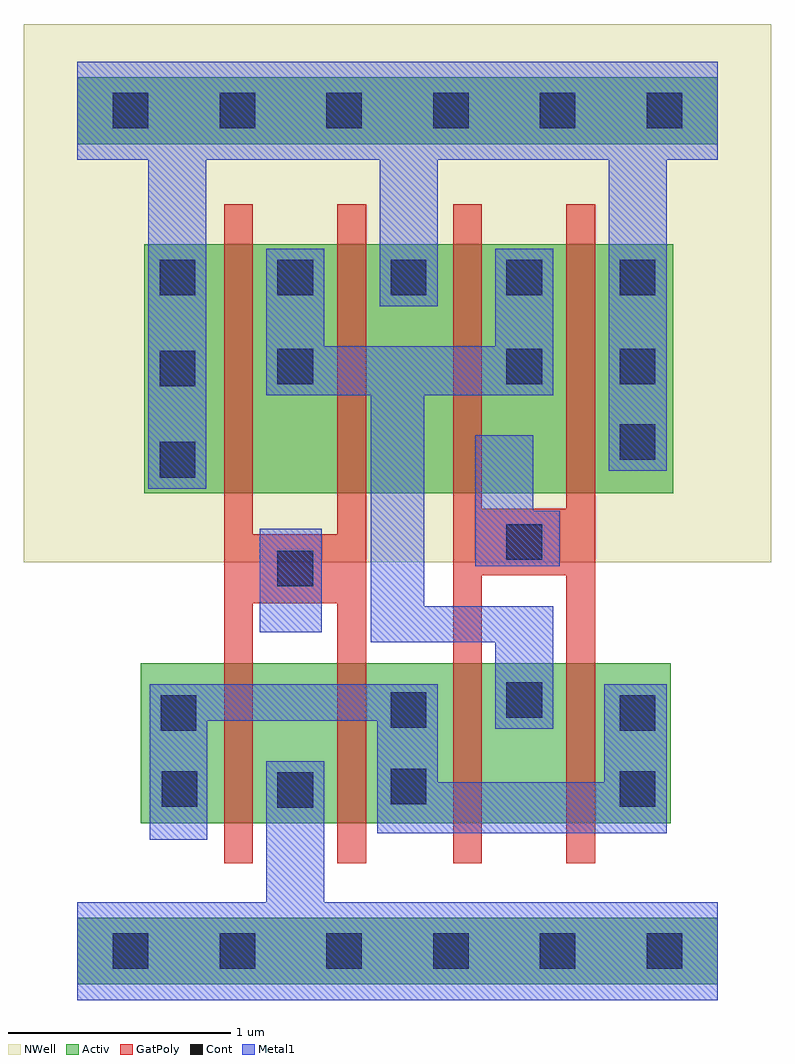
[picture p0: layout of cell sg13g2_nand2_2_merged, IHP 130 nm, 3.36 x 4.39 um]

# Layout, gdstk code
import gdstk
lib = gdstk.Library(unit=1e-6, precision=1e-09)
def R(c, l, rs):  # rectangles x0, y0, x1, y1
    for r in rs: c.add(gdstk.rectangle(r[:2], r[2:], *l))
def A(c, l, x, y, w, h, nx, ny, dx, dy):  # array of equal rectangles
    R(c, l, [(x+i*dx, y+j*dy, x+i*dx+w, y+j*dy+h) for i in range(nx) for j in range(ny)])
def P(c, l, *ps):  # polygons
    for p in ps: c.add(gdstk.Polygon(p, *l))
Activ = (1, 0)
GatPoly = (5, 0)
Cont = (6, 0)
Metal1 = (8, 0)
NWell = (31, 0)

sg13g2_nand2_2_merged = lib.new_cell('sg13g2_nand2_2_merged')
R(sg13g2_nand2_2_merged, Activ, [(0,-0.15,2.88,0.15), (0.285,0.575,2.67,1.295), (0.3,2.06,2.68,3.18), (0,3.63,2.88,3.93)])
P(sg13g2_nand2_2_merged, GatPoly, [(0.66,0.395),(0.66,3.36),(0.79,3.36),(0.79,1.875),(1.17,1.875),(1.17,3.36),(1.3,3.36),(1.3,0.395),(1.17,0.395),(1.17,1.565),(0.79,1.565),(0.79,0.395)],
  [(1.69,0.395),(1.69,3.36),(1.82,3.36),(1.82,1.99),(2.2,1.99),(2.2,3.36),(2.33,3.36),(2.33,0.395),(2.2,0.395),(2.2,1.69),(1.82,1.69),(1.82,0.395)])
A(sg13g2_nand2_2_merged, Cont, 0.16, -0.08, 0.16, 0.16, 6, 2, 0.48, 3.78)
A(sg13g2_nand2_2_merged, Cont, 0.37, 2.13, 0.16, 0.16, 1, 3, 0, 0.41)
R(sg13g2_nand2_2_merged, Cont, [(0.9,0.645,1.06,0.805), (0.38,0.65,0.54,0.81), (2.44,0.65,2.6,0.81), (1.41,0.66,1.57,0.82), (0.375,0.99,0.535,1.15), (2.44,0.99,2.6,1.15), (1.41,1.005,1.57,1.165), (1.93,1.05,2.09,1.21), (0.9,1.64,1.06,1.8), (1.93,1.76,2.09,1.92), (2.44,2.21,2.6,2.37), (0.9,2.55,1.06,2.71), (1.93,2.55,2.09,2.71), (2.44,2.55,2.6,2.71), (0.9,2.95,1.06,3.11), (1.41,2.95,1.57,3.11), (1.93,2.95,2.09,3.11), (2.44,2.95,2.6,3.11)])
R(sg13g2_nand2_2_merged, Metal1, [(0.82,1.435,1.1,1.9)])
P(sg13g2_nand2_2_merged, Metal1, [(0,-0.22),(0,0.22),(0.85,0.22),(0.85,0.855),(1.11,0.855),(1.11,0.22),(2.88,0.22),(2.88,-0.22)],
  [(0.325,0.5),(0.325,1.2),(1.62,1.2),(1.62,0.76),(2.37,0.76),(2.37,1.2),(2.65,1.2),(2.65,0.53),(1.35,0.53),(1.35,1.035),(0.585,1.035),(0.585,0.5)],
  [(1.79,1.73),(1.79,2.32),(2.05,2.32),(2.05,1.98),(2.17,1.98),(2.17,1.73)],
  [(1.88,1),(1.88,1.39),(1.32,1.39),(1.32,2.5),(0.85,2.5),(0.85,3.16),(1.11,3.16),(1.11,2.72),(1.88,2.72),(1.88,3.16),(2.14,3.16),(2.14,2.5),(1.56,2.5),(1.56,1.55),(2.14,1.55),(2.14,1)],
  [(0.32,2.08),(0.32,3.56),(0,3.56),(0,4),(2.88,4),(2.88,3.56),(2.65,3.56),(2.65,2.16),(2.39,2.16),(2.39,3.56),(1.62,3.56),(1.62,2.9),(1.36,2.9),(1.36,3.56),(0.58,3.56),(0.58,2.08)])
R(sg13g2_nand2_2_merged, NWell, [(-0.24,1.75,3.12,4.17)])

lib.write_gds('sg13g2_nand2_2_merged.gds')
